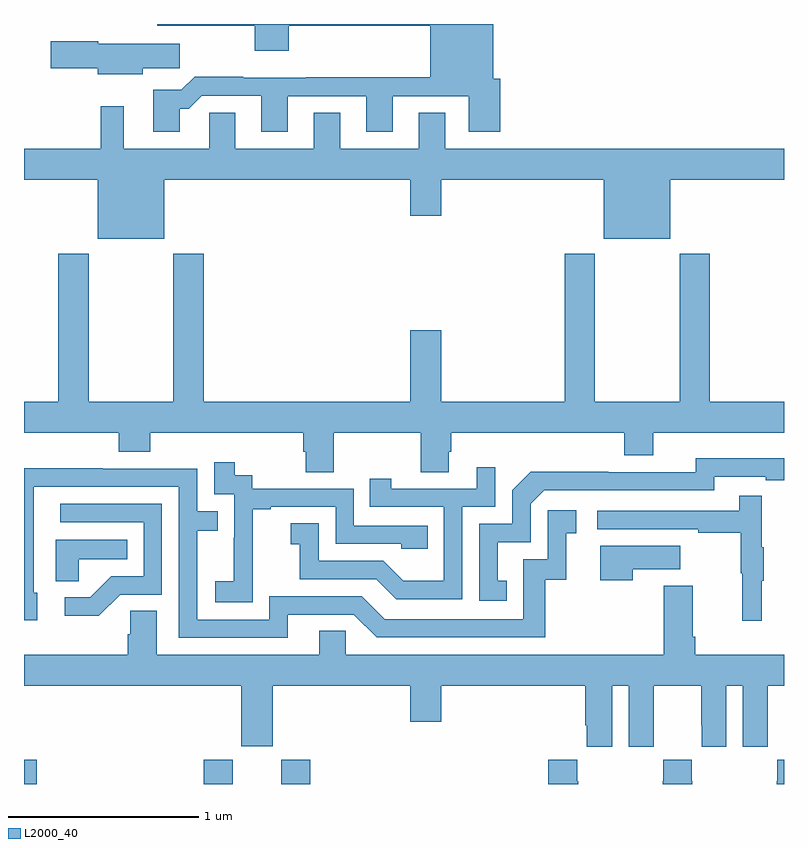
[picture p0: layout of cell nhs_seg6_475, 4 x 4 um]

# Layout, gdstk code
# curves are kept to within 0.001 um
import gdstk
lib = gdstk.Library(unit=1e-6, precision=1e-09)
def R(c, l, rs):  # rectangles x0, y0, x1, y1
    for r in rs: c.add(gdstk.rectangle(r[:2], r[2:], *l))
def P(c, l, *ps):  # polygons
    for p in ps: c.add(gdstk.Polygon(p, *l))
L2000_40 = (2000, 40)

nhs_seg6_475 = lib.new_cell('nhs_seg6_475')
R(nhs_seg6_475, L2000_40, [(139,933.5,139.067,933.628), (139.946,933.5,140.098,933.627), (140.354,933.5,140.507,933.627)])
P(nhs_seg6_475, L2000_40, [(139.819,937.055),(139.868,937.055),(139.935,937.122),(140.249,937.122),(140.249,936.933),(140.389,936.933),(140.389,937.119),(140.801,937.119),(140.801,936.933),(140.941,936.933),(140.941,937.119),(141.341,937.119),(141.341,936.933),(141.506,936.933),(141.506,937.212),(141.469,937.212),(141.469,937.5),(139.7,937.5),(139.7,937.49),(140.215,937.49),(140.215,937.359),(140.393,937.359),(140.393,937.49),(141.137,937.49),(141.137,937.22),(140.485,937.22),(140.485,937.216),(140.153,937.216),(140.153,937.223),(139.898,937.223),(139.828,937.153),(139.679,937.153),(139.679,936.933),(139.819,936.933)],
  [(139.624,937.267),(139.819,937.267),(139.819,937.396),(139.392,937.396),(139.392,937.409),(139.14,937.409),(139.14,937.267),(139.388,937.267),(139.388,937.235),(139.624,937.235)],
  [(139.738,936.68),(141.032,936.68),(141.032,936.492),(141.196,936.492),(141.196,936.68),(142.052,936.68),(142.052,936.371),(142.402,936.371),(142.402,936.68),(143,936.68),(143,936.844),(141.217,936.844),(141.217,937.034),(141.077,937.034),(141.077,936.844),(140.665,936.844),(140.665,937.034),(140.525,937.034),(140.525,936.844),(140.113,936.844),(140.113,937.034),(139.974,937.034),(139.974,936.844),(139.525,936.844),(139.525,937.066),(139.404,937.066),(139.404,936.844),(139,936.844),(139,936.68),(139.388,936.68),(139.388,936.371),(139.738,936.371)],
  [(142.16,935.231),(142.312,935.231),(142.312,935.348),(143,935.348),(143,935.512),(142.61,935.512),(142.61,936.292),(142.45,936.292),(142.45,935.512),(142.005,935.512),(142.005,936.292),(141.845,936.292),(141.845,935.512),(141.196,935.512),(141.196,935.887),(141.032,935.887),(141.032,935.512),(139.946,935.512),(139.946,936.292),(139.786,936.292),(139.786,935.512),(139.341,935.512),(139.341,936.292),(139.181,936.292),(139.181,935.512),(139,935.512),(139,935.348),(139.499,935.348),(139.499,935.249),(139.664,935.249),(139.664,935.348),(140.471,935.348),(140.471,935.25),(140.483,935.25),(140.483,935.14),(140.631,935.14),(140.631,935.348),(141.088,935.348),(141.088,935.14),(141.235,935.14),(141.235,935.25),(141.248,935.25),(141.248,935.348),(142.16,935.348)],
  [(141.542,934.569),(141.493,934.569),(141.493,934.773),(141.666,934.773),(141.666,934.974),(141.738,935.046),(142.632,935.046),(142.632,935.118),(142.904,935.118),(142.904,935.098),(143,935.098),(143,935.214),(142.536,935.215),(142.536,935.142),(142.076,935.142),(142.076,935.144),(141.668,935.144),(141.57,935.046),(141.57,934.869),(141.396,934.869),(141.396,934.464),(141.542,934.464)],
  [(140.205,934.663),(140.204,934.663),(140.204,934.947),(140.299,934.947),(140.299,934.959),(140.64,934.959),(140.64,934.764),(140.985,934.764),(140.985,934.737),(141.125,934.737),(141.125,934.86),(140.736,934.86),(140.736,935.055),(140.202,935.055),(140.202,935.124),(140.11,935.124),(140.11,935.194),(140.001,935.194),(140.001,935.025),(140.106,935.025),(140.106,934.796),(140.105,934.796),(140.105,934.567),(140.007,934.567),(140.007,934.457),(140.205,934.457)],
  [(141.306,934.959),(141.48,934.959),(141.48,935.167),(141.383,935.167),(141.383,935.055),(140.932,935.055),(140.932,935.107),(140.821,935.107),(140.821,934.959),(141.21,934.959),(141.21,934.57),(140.996,934.57),(140.892,934.674),(140.55,934.674),(140.55,934.873),(140.403,934.873),(140.403,934.763),(140.452,934.763),(140.452,934.578),(140.855,934.578),(140.96,934.473),(141.306,934.473)],
  [(140.389,934.392),(140.736,934.392),(140.856,934.272),(141.743,934.272),(141.743,934.575),(141.854,934.575),(141.854,934.821),(141.907,934.821),(141.907,934.942),(141.756,934.942),(141.756,934.683),(141.627,934.683),(141.627,934.368),(140.898,934.368),(140.778,934.488),(140.292,934.488),(140.292,934.365),(139.911,934.365),(139.911,934.834),(140.021,934.834),(140.021,934.935),(139.911,934.935),(139.911,935.16),(139.415,935.16),(139.415,935.162),(139,935.162),(139,934.362),(139.069,934.362),(139.069,934.506),(139.05,934.506),(139.05,935.064),(139.815,935.064),(139.815,934.269),(140.389,934.269)],
  [(142.883,934.571),(142.894,934.571),(142.894,934.745),(142.883,934.745),(142.883,935.017),(142.765,935.017),(142.765,934.938),(142.017,934.938),(142.017,934.842),(142.549,934.842),(142.549,934.822),(142.773,934.822),(142.773,934.608),(142.78,934.608),(142.78,934.359),(142.883,934.359)],
  [(139.506,934.497),(139.725,934.497),(139.725,934.974),(139.191,934.974),(139.191,934.878),(139.629,934.878),(139.629,934.593),(139.46,934.593),(139.349,934.482),(139.215,934.482),(139.215,934.385),(139.393,934.385)],
  [(139.287,934.682),(139.544,934.682),(139.544,934.786),(139.166,934.786),(139.166,934.567),(139.287,934.567)],
  [(142.205,934.631),(142.453,934.631),(142.453,934.753),(142.034,934.753),(142.034,934.572),(142.205,934.572)],
  [(140.694,934.307),(140.555,934.307),(140.555,934.18),(139.699,934.18),(139.699,934.412),(139.56,934.412),(139.56,934.289),(139.547,934.289),(139.547,934.18),(139,934.18),(139,934.016),(140.144,934.016),(140.144,933.699),(140.308,933.699),(140.308,934.016),(141.032,934.016),(141.032,933.828),(141.196,933.828),(141.196,934.016),(141.953,934.016),(141.953,933.808),(141.962,933.808),(141.962,933.696),(142.096,933.696),(142.096,934.016),(142.184,934.016),(142.184,933.696),(142.314,933.696),(142.314,933.808),(142.315,933.808),(142.315,934.016),(142.565,934.016),(142.565,933.808),(142.566,933.808),(142.566,933.696),(142.696,933.696),(142.696,934.016),(142.784,934.016),(142.784,933.696),(142.914,933.696),(142.914,933.808),(142.915,933.808),(142.915,934.016),(143,934.016),(143,934.18),(142.532,934.18),(142.532,934.276),(142.519,934.276),(142.519,934.543),(142.367,934.543),(142.367,934.18),(140.694,934.18)],
  [(141.918,933.515),(141.911,933.515),(141.911,933.628),(141.758,933.628),(141.758,933.5),(141.918,933.5)],
  [(142.518,933.515),(142.515,933.515),(142.515,933.628),(142.365,933.628),(142.365,933.515),(142.363,933.515),(142.363,933.5),(142.518,933.5)],
  [(143,933.628),(142.965,933.628),(142.965,933.515),(142.963,933.515),(142.963,933.5),(143,933.5)])

lib.write_gds('nhs_seg6_475.gds')
